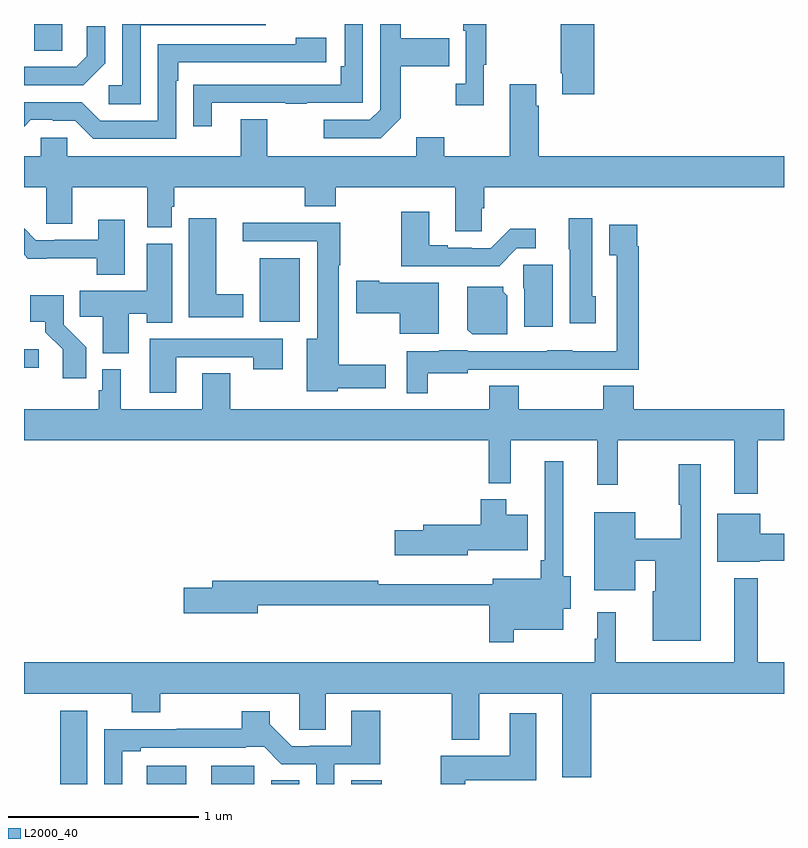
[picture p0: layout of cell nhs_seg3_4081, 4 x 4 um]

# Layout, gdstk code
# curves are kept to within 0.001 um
import gdstk
lib = gdstk.Library(unit=1e-6, precision=1e-09)
def R(c, l, rs):  # rectangles x0, y0, x1, y1
    for r in rs: c.add(gdstk.rectangle(r[:2], r[2:], *l))
def P(c, l, *ps):  # polygons
    for p in ps: c.add(gdstk.Polygon(p, *l))
L2000_40 = (2000, 40)

nhs_seg3_4081 = lib.new_cell('nhs_seg3_4081')
R(nhs_seg3_4081, L2000_40, [(325.19,740.4,325.333,740.785), (325.646,740.4,325.855,740.497), (325.985,740.4,326.212,740.497), (326.3,740.4,326.449,740.42), (326.723,740.4,326.884,740.42), (325,742.591,325.078,742.689), (326.24,742.832,326.452,743.167), (325.055,744.259,325.2,744.4)])
P(nhs_seg3_4081, L2000_40, [(326.983,743.905),(326.983,744.178),(327.239,744.178),(327.239,744.325),(326.983,744.325),(326.983,744.4),(326.874,744.4),(326.874,743.949),(326.82,743.895),(326.577,743.895),(326.577,743.799),(326.877,743.799)],
  [(325.614,744.393),(326.273,744.393),(326.273,744.4),(325.518,744.4),(325.518,744.078),(325.446,744.078),(325.446,743.977),(325.614,743.977)],
  [(328.001,744.4),(327.826,744.4),(327.826,744.142),(327.833,744.142),(327.833,744.03),(328.001,744.03)],
  [(327.421,744.185),(327.433,744.185),(327.433,744.4),(327.312,744.4),(327.312,744.365),(327.324,744.365),(327.324,744.086),(327.273,744.086),(327.273,743.973),(327.421,743.973)],
  [(325.987,743.985),(326.377,743.985),(326.377,743.98),(326.489,743.98),(326.489,743.985),(326.784,743.985),(326.784,744.4),(326.688,744.4),(326.688,744.178),(326.668,744.178),(326.668,744.081),(325.993,744.081),(325.993,744.08),(325.891,744.08),(325.891,743.862),(325.987,743.862)],
  [(325.428,744.194),(325.428,744.388),(325.331,744.388),(325.331,744.231),(325.274,744.174),(325,744.174),(325,744.078),(325.312,744.078)],
  [(325.8,744.101),(325.813,744.101),(325.813,744.198),(326.59,744.198),(326.59,744.328),(326.429,744.328),(326.429,744.294),(325.704,744.294),(325.704,743.892),(325.401,743.892),(325.305,743.988),(325,743.988),(325,743.86),(325.035,743.895),(325.151,743.895),(325.151,743.892),(325.269,743.892),(325.365,743.796),(325.8,743.796)],
  [(327.408,743.43),(327.422,743.43),(327.422,743.54),(329,743.54),(329,743.704),(327.71,743.704),(327.71,743.969),(327.697,743.969),(327.697,744.082),(327.557,744.082),(327.557,743.704),(327.213,743.704),(327.213,743.803),(327.065,743.803),(327.065,743.704),(326.281,743.704),(326.281,743.899),(326.141,743.899),(326.141,743.704),(325.227,743.704),(325.227,743.802),(325.089,743.802),(325.089,743.704),(325,743.704),(325,743.54),(325.116,743.54),(325.116,743.35),(325.255,743.35),(325.255,743.54),(325.649,743.54),(325.649,743.329),(325.777,743.329),(325.777,743.439),(325.79,743.439),(325.79,743.54),(326.477,743.54),(326.477,743.441),(326.642,743.441),(326.642,743.54),(327.269,743.54),(327.269,743.308),(327.408,743.308)],
  [(327.594,743.22),(327.694,743.22),(327.694,743.323),(327.559,743.323),(327.456,743.22),(327.356,743.22),(327.356,743.223),(327.229,743.223),(327.229,743.236),(327.133,743.236),(327.133,743.413),(326.986,743.413),(326.986,743.126),(327.5,743.126)],
  [(326.155,742.978),(326.011,742.978),(326.011,743.377),(325.868,743.377),(325.868,742.856),(326.155,742.856)],
  [(328.009,742.968),(327.991,742.968),(327.991,743.377),(327.866,743.377),(327.866,743.214),(327.872,743.214),(327.872,742.824),(328.009,742.824)],
  [(325.531,743.371),(325.391,743.371),(325.391,743.265),(325.162,743.265),(325.162,743.262),(325.062,743.262),(325,743.324),(325,743.186),(325.021,743.165),(325.384,743.166),(325.384,743.081),(325.531,743.081)],
  [(326.652,742.484),(326.905,742.484),(326.905,742.606),(326.656,742.606),(326.656,743.131),(326.664,743.131),(326.664,743.354),(326.151,743.354),(326.151,743.256),(326.543,743.256),(326.543,742.744),(326.489,742.744),(326.489,742.466),(326.652,742.466)],
  [(327.124,742.562),(327.336,742.562),(327.336,742.581),(327.753,742.581),(327.753,742.58),(327.985,742.58),(327.985,742.581),(328.235,742.581),(328.235,743.231),(328.228,743.231),(328.228,743.344),(328.079,743.344),(328.079,743.183),(328.119,743.183),(328.119,742.678),(327.885,742.678),(327.885,742.684),(327.753,742.684),(327.753,742.677),(327.336,742.677),(327.336,742.684),(327.186,742.684),(327.186,742.678),(327.015,742.678),(327.015,742.457),(327.124,742.457)],
  [(325.552,742.874),(325.646,742.874),(325.646,742.828),(325.78,742.828),(325.78,743.244),(325.646,743.244),(325.646,742.996),(325.294,742.996),(325.294,742.858),(325.415,742.858),(325.415,742.667),(325.552,742.667)],
  [(327.784,743.133),(327.628,743.133),(327.628,743.01),(327.632,743.01),(327.632,742.806),(327.784,742.806)],
  [(327.184,743.038),(326.871,743.038),(326.871,743.048),(326.748,743.048),(326.748,742.877),(326.978,742.877),(326.978,742.769),(327.184,742.769)],
  [(327.544,742.97),(327.522,742.992),(327.522,743.017),(327.332,743.017),(327.332,742.792),(327.358,742.766),(327.544,742.766)],
  [(325.328,742.698),(325.209,742.817),(325.209,742.972),(325.032,742.972),(325.032,742.832),(325.112,742.832),(325.112,742.777),(325.203,742.687),(325.203,742.536),(325.328,742.536)],
  [(325.801,742.647),(326.206,742.647),(326.206,742.584),(326.362,742.584),(326.362,742.743),(325.661,742.743),(325.661,742.458),(325.801,742.458)],
  [(328.861,742.208),(329,742.208),(329,742.372),(328.208,742.372),(328.208,742.496),(328.048,742.496),(328.048,742.372),(327.603,742.372),(327.603,742.496),(327.448,742.496),(327.448,742.372),(326.085,742.372),(326.085,742.562),(325.937,742.562),(325.937,742.372),(325.51,742.372),(325.51,742.582),(325.413,742.582),(325.413,742.473),(325.393,742.473),(325.393,742.372),(325,742.372),(325,742.208),(327.445,742.208),(327.445,741.983),(327.563,741.983),(327.563,742.208),(328.016,742.208),(328.016,741.975),(328.126,741.975),(328.126,742.208),(328.739,742.208),(328.739,741.927),(328.861,741.927)],
  [(327.577,741.212),(327.838,741.212),(327.838,741.323),(327.877,741.323),(327.877,741.494),(327.838,741.494),(327.838,742.099),(327.741,742.099),(327.741,741.577),(327.721,741.577),(327.721,741.481),(327.467,741.481),(327.467,741.451),(326.864,741.451),(326.864,741.47),(325.991,741.47),(325.991,741.434),(325.842,741.434),(325.842,741.299),(326.23,741.299),(326.23,741.342),(327.448,741.342),(327.448,741.147),(327.577,741.147)],
  [(328.561,742.084),(328.447,742.084),(328.447,741.87),(328.457,741.87),(328.457,741.692),(328.216,741.692),(328.216,741.829),(328.001,741.829),(328.001,741.419),(328.216,741.419),(328.216,741.575),(328.322,741.575),(328.322,741.414),(328.31,741.414),(328.31,741.155),(328.561,741.155)],
  [(327.336,741.629),(327.652,741.629),(327.652,741.817),(327.538,741.817),(327.538,741.898),(327.404,741.898),(327.404,741.765),(327.101,741.765),(327.101,741.735),(326.952,741.735),(326.952,741.605),(327.336,741.605)],
  [(328.872,741.575),(329,741.575),(329,741.717),(328.876,741.717),(328.876,741.823),(328.649,741.823),(328.649,741.569),(328.872,741.569)],
  [(327.986,740.876),(329,740.876),(329,741.04),(328.861,741.04),(328.861,741.484),(328.739,741.484),(328.739,741.04),(328.115,741.04),(328.115,741.304),(328.016,741.304),(328.016,741.164),(328.005,741.164),(328.005,741.04),(325,741.04),(325,740.876),(325.568,740.876),(325.568,740.777),(325.716,740.777),(325.716,740.876),(326.448,740.876),(326.448,740.686),(326.587,740.686),(326.587,740.876),(327.25,740.876),(327.25,740.633),(327.397,740.633),(327.397,740.876),(327.833,740.876),(327.833,740.435),(327.986,740.435)],
  [(325.518,740.572),(325.615,740.572),(325.615,740.592),(326.168,740.592),(326.168,740.595),(326.264,740.595),(326.354,740.505),(326.538,740.505),(326.538,740.4),(326.634,740.4),(326.634,740.505),(326.874,740.505),(326.874,740.785),(326.723,740.785),(326.723,740.601),(326.503,740.601),(326.503,740.598),(326.409,740.598),(326.293,740.714),(326.293,740.782),(326.146,740.782),(326.146,740.69),(325.804,740.69),(325.804,740.688),(325.422,740.688),(325.422,740.4),(325.518,740.4)],
  [(327.322,740.42),(327.697,740.42),(327.697,740.773),(327.557,740.773),(327.557,740.548),(327.193,740.548),(327.193,740.4),(327.322,740.4)])

lib.write_gds('nhs_seg3_4081.gds')
